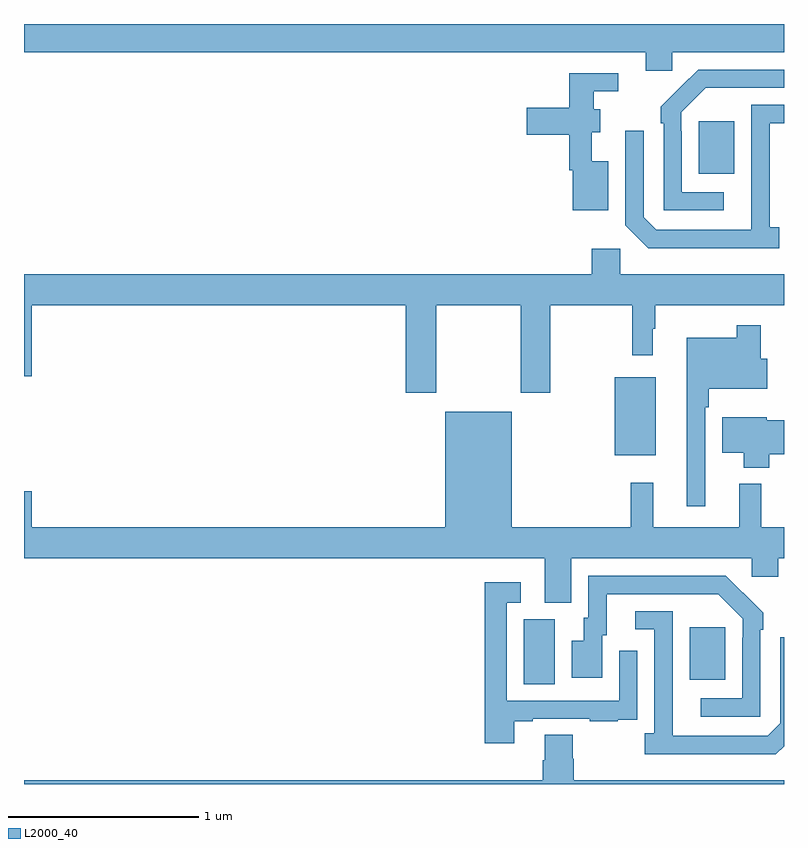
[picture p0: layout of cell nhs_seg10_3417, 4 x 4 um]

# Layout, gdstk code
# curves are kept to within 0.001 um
import gdstk
lib = gdstk.Library(unit=1e-6, precision=1e-09)
def R(c, l, rs):  # rectangles x0, y0, x1, y1
    for r in rs: c.add(gdstk.rectangle(r[:2], r[2:], *l))
def P(c, l, *ps):  # polygons
    for p in ps: c.add(gdstk.Polygon(p, *l))
L2000_40 = (2000, 40)

nhs_seg10_3417 = lib.new_cell('nhs_seg10_3417')
R(nhs_seg10_3417, L2000_40, [(299.63,1261.024,299.794,1261.368), (300.503,1261.049,300.691,1261.324), (300.11,1262.231,300.325,1262.641), (300.551,1263.713,300.739,1263.988)])
P(nhs_seg10_3417, L2000_40, [(300.411,1264.352),(301,1264.352),(301,1264.5),(297,1264.5),(297,1264.352),(300.272,1264.352),(300.272,1264.254),(300.411,1264.254)],
  [(300.682,1263.615),(300.462,1263.615),(300.462,1263.935),(300.459,1263.935),(300.459,1264.035),(300.588,1264.164),(301,1264.164),(301,1264.26),(300.548,1264.26),(300.351,1264.065),(300.351,1263.977),(300.366,1263.977),(300.366,1263.519),(300.682,1263.519)],
  [(300.076,1263.778),(299.987,1263.778),(299.987,1263.929),(300.034,1263.929),(300.034,1264.051),(299.998,1264.051),(299.998,1264.146),(300.127,1264.146),(300.127,1264.242),(299.869,1264.242),(299.869,1264.059),(299.646,1264.059),(299.646,1263.917),(299.869,1263.917),(299.869,1263.729),(299.888,1263.729),(299.888,1263.521),(300.076,1263.521)],
  [(300.976,1263.43),(300.924,1263.43),(300.924,1263.978),(301,1263.978),(301,1264.074),(300.828,1264.074),(300.827,1263.417),(300.327,1263.417),(300.261,1263.483),(300.261,1263.937),(300.165,1263.937),(300.165,1263.441),(300.286,1263.32),(300.976,1263.32)],
  [(300.138,1263.316),(299.987,1263.316),(299.987,1263.184),(297,1263.184),(297,1262.646),(297.04,1262.646),(297.04,1263.02),(299.009,1263.02),(299.009,1262.559),(299.169,1262.559),(299.169,1263.02),(299.614,1263.02),(299.614,1262.559),(299.769,1262.559),(299.769,1263.02),(300.201,1263.02),(300.201,1262.757),(300.31,1262.757),(300.31,1262.897),(300.322,1262.897),(300.322,1263.02),(301,1263.02),(301,1263.184),(300.138,1263.184)],
  [(300.585,1262.483),(300.605,1262.483),(300.605,1262.579),(300.913,1262.579),(300.913,1262.737),(300.878,1262.737),(300.878,1262.914),(300.75,1262.914),(300.75,1262.848),(300.488,1262.848),(300.488,1261.962),(300.585,1261.962)],
  [(299.881,1261.688),(300.831,1261.688),(300.831,1261.59),(300.97,1261.59),(300.97,1261.688),(301,1261.688),(301,1261.852),(300.881,1261.852),(300.881,1262.08),(300.764,1262.08),(300.764,1261.852),(300.311,1261.852),(300.311,1262.086),(300.193,1262.086),(300.193,1261.852),(299.566,1261.852),(299.566,1262.458),(299.216,1262.458),(299.216,1261.852),(297.04,1261.852),(297.04,1262.041),(297,1262.041),(297,1261.688),(299.741,1261.688),(299.741,1261.453),(299.881,1261.453)],
  [(300.923,1262.236),(301,1262.236),(301,1262.414),(300.91,1262.414),(300.91,1262.431),(300.674,1262.431),(300.674,1262.243),(300.788,1262.243),(300.788,1262.165),(300.923,1262.165)],
  [(300.876,1261.313),(300.891,1261.313),(300.891,1261.401),(300.694,1261.596),(299.97,1261.596),(299.97,1261.374),(299.945,1261.374),(299.945,1261.255),(299.882,1261.255),(299.882,1261.059),(300.043,1261.059),(300.043,1261.284),(300.067,1261.284),(300.067,1261.5),(300.655,1261.5),(300.783,1261.371),(300.783,1261.271),(300.78,1261.271),(300.78,1260.951),(300.561,1260.951),(300.561,1260.855),(300.876,1260.855)],
  [(299.581,1260.831),(299.677,1260.831),(299.677,1260.843),(299.977,1260.843),(299.977,1260.831),(300.125,1260.831),(300.125,1260.837),(300.227,1260.837),(300.227,1260.946),(300.228,1260.946),(300.228,1261.201),(300.132,1261.201),(300.132,1260.939),(299.541,1260.939),(299.541,1261.455),(299.614,1261.455),(299.614,1261.561),(299.425,1261.561),(299.425,1260.714),(299.581,1260.714)],
  [(301,1260.7),(301,1261.273),(300.981,1261.273),(300.981,1260.819),(300.915,1260.753),(300.415,1260.753),(300.414,1261.41),(300.216,1261.41),(300.216,1261.314),(300.318,1261.314),(300.318,1260.766),(300.267,1260.766),(300.267,1260.656),(300.956,1260.656)],
  [(301,1260.52),(299.894,1260.52),(299.894,1260.633),(299.889,1260.633),(299.889,1260.758),(299.741,1260.758),(299.741,1260.626),(299.729,1260.626),(299.729,1260.52),(297,1260.52),(297,1260.5),(301,1260.5)])

lib.write_gds('nhs_seg10_3417.gds')
